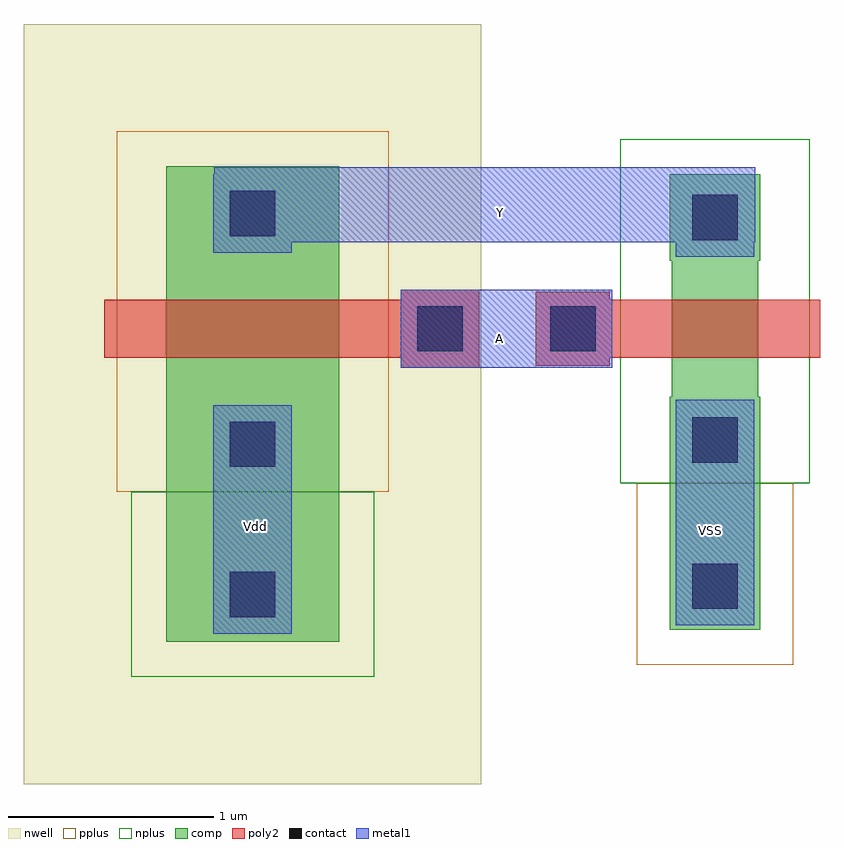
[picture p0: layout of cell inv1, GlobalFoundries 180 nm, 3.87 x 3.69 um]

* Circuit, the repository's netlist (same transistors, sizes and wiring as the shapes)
** sch_path: /foss/designs/libs/core_digital/schem/inv1.sch
.subckt inv1 Vdd A Y Vss
*.PININFO Vdd:I A:I Vss:I Y:O
M1 Y A Vss Vss nfet_03v3 L=0.28u W=0.42u nf=1 m=1
M2 Y A Vdd Vdd pfet_03v3 L=0.28u W=0.84u nf=1 m=1
.ends

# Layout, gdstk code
from math import pi, radians
import gdstk
lib = gdstk.Library(unit=1e-6, precision=5e-09)
def R(c, l, rs):  # rectangles x0, y0, x1, y1
    for r in rs: c.add(gdstk.rectangle(r[:2], r[2:], *l))
nwell = (21, 0)
comp = (22, 0)
poly2 = (30, 0)
pplus = (31, 0)
nplus = (32, 0)
contact = (33, 0)
metal1 = (34, 0)

nfet_1 = lib.new_cell('nfet$1')
R(nfet_1, comp, [(-0.42,-0.01,0,0.43), (0.66,-0.01,1.08,0.43), (1.08,-0.01,1.79,0.43), (0,0,0.66,0.42)])
R(nfet_1, poly2, [(0.19,-0.3,0.47,0.72), (0.15,0.72,0.51,1.08)])
R(nfet_1, pplus, [(1.08,-0.17,1.96,0.59)])
R(nfet_1, nplus, [(-0.59,-0.25,1.08,0.67)])
R(nfet_1, contact, [(-0.32,0.1,-0.1,0.32), (0.76,0.1,0.98,0.32), (1.47,0.1,1.69,0.32), (0.22,0.79,0.44,1.01)])
R(nfet_1, metal1, [(-0.4,0.02,-0.02,0.4), (0.68,0.02,1.06,0.4), (1.39,0.02,1.77,0.4), (0.14,0.71,0.52,1.09)])

pfet = lib.new_cell('pfet')
R(pfet, nwell, [(-1.15,-0.69,2.54,1.53)])
R(pfet, comp, [(-0.46,0,0,0.84), (0,0,0.66,0.84), (0.66,0,1.12,0.84), (1.12,0,1.85,0.84)])
R(pfet, poly2, [(0.19,-0.3,0.47,1.14), (0.14,1.14,0.52,1.52)])
R(pfet, pplus, [(-0.63,-0.24,1.12,1.08)])
R(pfet, nplus, [(1.12,-0.17,2.02,1.01)])
R(pfet, contact, [(-0.34,0.31,-0.12,0.53), (0.78,0.31,1,0.53), (1.51,0.31,1.73,0.53), (0.22,1.22,0.44,1.44)])
R(pfet, metal1, [(-0.42,0.23,-0.04,0.61), (0.7,0.23,1.08,0.61), (1.43,0.23,1.81,0.61), (0.14,1.14,0.52,1.52)])

inv1 = lib.new_cell('inv1')
R(inv1, metal1, [(-2.79,-1.315,-2.41,-0.205), (-0.545,-1.27,-0.165,-0.18), (-1.5,-0.025,-1.235,0.04), (-1.5,-0.025,-1.235,0.355), (-1.5,0.04,-1.225,0.35), (-2.785,0.585,-0.16,0.95)])
inv1.add(gdstk.Reference(nfet_1, (-0.145,0.495), rotation=3*pi/2, x_reflection=True))
inv1.add(gdstk.Reference(pfet, (-3.02,0.495), rotation=3*pi/2))
inv1.add(gdstk.Label('VSS', (-0.375,-0.815), layer=34, texttype=10))
inv1.add(gdstk.Label('A', (-1.4,0.12), layer=34, texttype=10))
inv1.add(gdstk.Label('Y', (-1.395,0.73), layer=34, texttype=10))
inv1.add(gdstk.Label('Vdd', (-2.585,-0.795), layer=34, texttype=10))

lib.write_gds('inv1.gds')
